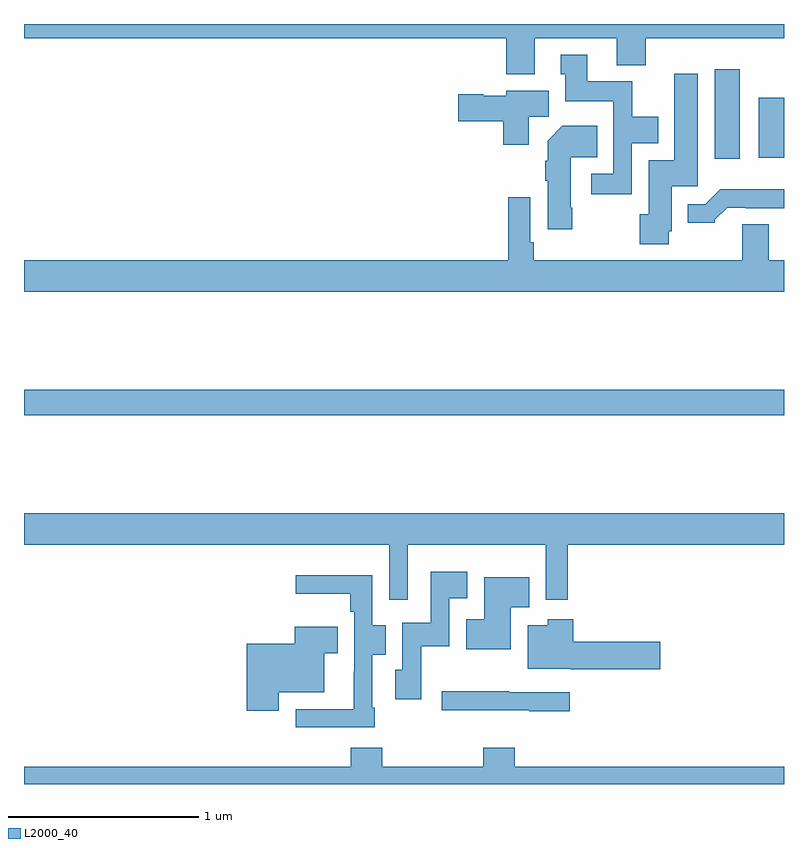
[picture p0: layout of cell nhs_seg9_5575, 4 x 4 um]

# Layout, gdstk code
import gdstk
lib = gdstk.Library(unit=1e-6, precision=1e-09)
def R(c, l, rs):  # rectangles x0, y0, x1, y1
    for r in rs: c.add(gdstk.rectangle(r[:2], r[2:], *l))
def P(c, l, *ps):  # polygons
    for p in ps: c.add(gdstk.Polygon(p, *l))
L2000_40 = (2000, 40)

nhs_seg9_5575 = lib.new_cell('nhs_seg9_5575')
R(nhs_seg9_5575, L2000_40, [(435,1190.44,439,1190.576), (438.635,1191.792,438.766,1192.261), (438.866,1191.797,439,1192.111)])
P(nhs_seg9_5575, L2000_40, [(437.689,1192.424),(438.119,1192.424),(438.119,1192.283),(438.272,1192.283),(438.272,1192.424),(439,1192.424),(439,1192.5),(435,1192.5),(435,1192.424),(437.537,1192.424),(437.537,1192.235),(437.689,1192.235)],
  [(438.198,1191.872),(438.337,1191.872),(438.337,1192.012),(438.201,1192.012),(438.201,1192.198),(437.965,1192.198),(437.965,1192.339),(437.825,1192.339),(437.825,1192.236),(437.849,1192.236),(437.849,1192.094),(438.102,1192.094),(438.102,1191.711),(437.985,1191.711),(437.985,1191.603),(438.198,1191.603)],
  [(438.393,1191.408),(438.409,1191.408),(438.409,1191.645),(438.547,1191.645),(438.547,1192.237),(438.422,1192.237),(438.422,1191.784),(438.287,1191.784),(438.287,1191.498),(438.241,1191.498),(438.241,1191.342),(438.393,1191.342)],
  [(437.656,1192.012),(437.761,1192.012),(437.761,1192.15),(437.538,1192.15),(437.538,1192.123),(437.418,1192.123),(437.418,1192.131),(437.286,1192.131),(437.286,1191.989),(437.522,1191.989),(437.522,1191.864),(437.656,1191.864)],
  [(437.886,1191.532),(437.878,1191.532),(437.878,1191.8),(438.017,1191.8),(438.017,1191.964),(437.834,1191.964),(437.756,1191.886),(437.756,1191.779),(437.744,1191.779),(437.744,1191.676),(437.756,1191.676),(437.756,1191.42),(437.886,1191.42)],
  [(438.636,1191.47),(438.7,1191.534),(438.799,1191.534),(438.799,1191.531),(439,1191.531),(439,1191.631),(438.664,1191.631),(438.585,1191.552),(438.494,1191.552),(438.494,1191.455),(438.636,1191.455)],
  [(439,1191.256),(438.919,1191.256),(438.919,1191.446),(438.779,1191.446),(438.779,1191.256),(437.684,1191.256),(437.684,1191.352),(437.664,1191.352),(437.664,1191.589),(437.548,1191.589),(437.548,1191.256),(435,1191.256),(435,1191.092),(439,1191.092)],
  [(437.019,1189.76),(437.745,1189.76),(437.745,1189.47),(437.861,1189.47),(437.861,1189.76),(439,1189.76),(439,1189.924),(435,1189.924),(435,1189.76),(436.923,1189.76),(436.923,1189.47),(437.019,1189.47)],
  [(437.091,1189.226),(437.238,1189.226),(437.238,1189.478),(437.332,1189.478),(437.332,1189.618),(437.142,1189.618),(437.142,1189.348),(436.992,1189.348),(436.992,1189.101),(436.955,1189.101),(436.955,1188.945),(437.091,1188.945)],
  [(436.846,1188.901),(436.833,1188.901),(436.833,1189.18),(436.903,1189.18),(436.903,1189.335),(436.833,1189.335),(436.833,1189.6),(436.431,1189.6),(436.431,1189.502),(436.717,1189.502),(436.717,1189.406),(436.737,1189.406),(436.737,1189.091),(436.736,1189.091),(436.736,1188.894),(436.431,1188.894),(436.431,1188.798),(436.846,1188.798)],
  [(437.563,1189.43),(437.66,1189.43),(437.66,1189.588),(437.423,1189.588),(437.423,1189.366),(437.327,1189.366),(437.327,1189.208),(437.563,1189.208)],
  [(438.349,1189.25),(437.891,1189.25),(437.891,1189.366),(437.756,1189.366),(437.756,1189.336),(437.651,1189.336),(437.651,1189.106),(437.874,1189.106),(437.874,1189.103),(438.349,1189.103)],
  [(436.342,1188.983),(436.579,1188.983),(436.579,1189.187),(436.652,1189.187),(436.652,1189.327),(436.424,1189.327),(436.424,1189.237),(436.172,1189.237),(436.172,1188.885),(436.342,1188.885)],
  [(437.872,1188.984),(437.555,1188.984),(437.555,1188.987),(437.199,1188.987),(437.199,1188.887),(437.659,1188.887),(437.659,1188.883),(437.872,1188.883)],
  [(439,1188.592),(437.582,1188.592),(437.582,1188.691),(437.417,1188.691),(437.417,1188.592),(436.886,1188.592),(436.886,1188.691),(436.721,1188.691),(436.721,1188.592),(435,1188.592),(435,1188.5),(439,1188.5)])

lib.write_gds('nhs_seg9_5575.gds')
